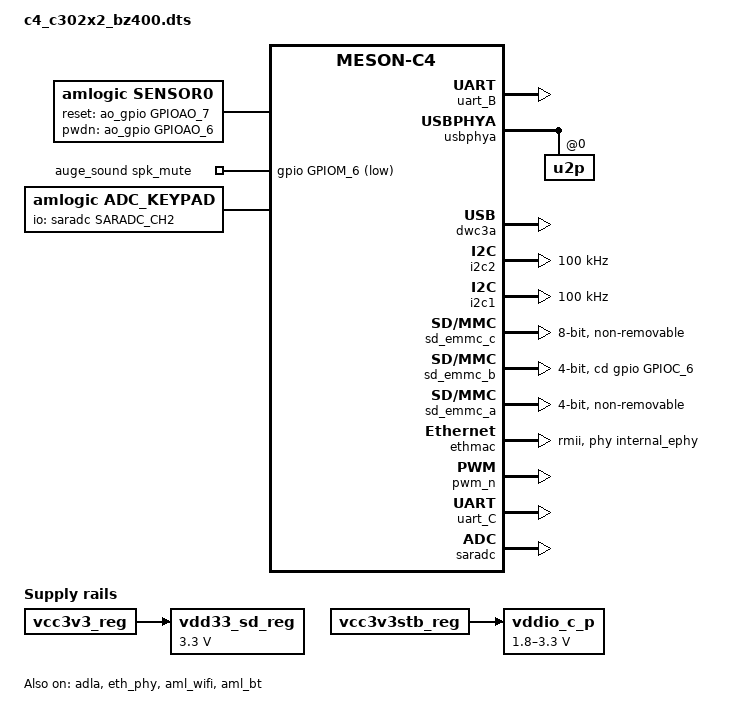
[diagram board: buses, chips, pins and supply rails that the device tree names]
// SPDX-License-Identifier: (GPL-2.0+ OR MIT)
/*
 * Copyright (c) 2019 Amlogic, Inc. All rights reserved.
 */

/dts-v1/;

#include "meson-c4.dtsi"
#include "mesonc4_audio.dtsi"

/ {
	amlogic-dt-id = "c4_c302x2_bz400";
	compatible = "c4_c302x2_bz400";

	aliases {
		serial0 = &uart_B;
		serial1 = &uart_C;
		serial2 = &uart_A;
		serial3 = &uart_E;
		serial4 = &uart_D;
		serial5 = &uart_F;
		i2c0 = &i2c0;
		i2c1 = &i2c1;
		i2c2 = &i2c2;
		i2c3 = &i2c3;
		i2c4 = &i2c4;
		spi0 = &spi_nfc;
		spi1 = &spicc0;
		spi2 = &spicc1;
		tsensor0 = &tsensor;
	};

	chosen {
		stdout-path = "serial0:115200n8";
	};

	memory@0 {
		device_type = "memory";
		linux,usable-memory = <0x0 0x20000000>;
	};

	reserved-memory {
		#address-cells = <1>;
		#size-cells = <1>;
		ranges;

		ramdump_bl33z {
			compatible = "shared-dma-pool";
			size = <0x01800000>;
			alignment = <0x00400000>;
			alloc-ranges = <0x05000000 0x07000000>;
			linux,contiguous-region;
			no-map;
			status = "disabled";
		};

		secmon_reserved:linux,secmon {
			compatible = "shared-dma-pool";
			no-map;
			alignment = <0x100000>;
			reg = <0x07f50000 0x00810000>;
		};
		nna_cma_reserved: linux,nna_cma {
			compatible = "shared-dma-pool";
			//alloc-ranges = <0x70000000 0x18000000>;
			size = <0x1000000>;
			alignment = <0x400000>;
			reusable;
			//no-map;
			status = "okay";
		};

		logo_reserved:linux,meson-fb {
			compatible = "shared-dma-pool";
			reusable;
			/* keep sync with fb */
			/* fox example:logo_addr = "0x3f800000"*/
			size = <0x1800000>;
			alignment = <0x400000>;
			reg = <0xe800000 0x1800000>;
				status = "disabled";
		};

		ion_cma_reserved:linux,ion-dev {
			compatible = "shared-dma-pool";
			reusable;
			size = <0x3000000>;
			alignment = <0x400000>;
				status = "disabled";
		};

		rtos_reserved:linux,rtos_reserved {
			compatible = "amlogic, aml_rtos_memory";
			status = "disabled";
			reg = <0x4800000 0x200000>;
			no-map;
		};

		dsp_fw_reserved:linux,dsp_fw {
			compatible = "shared-dma-pool";
			reusable;
			alignment = <0x400000>;
			reg = <0x3400000 0x0>;
			status = "disabled";
		};

		ramoops@8400000 {
			compatible = "ramoops";
			status = "okay";
			reg = <0x08400000 0x00100000>;
			record-size = <0x20000>;
			console-size = <0x20000>;
			ftrace-size = <0x80000>;
			pmsg-size = <0x0>;
			no-map;
		};

		dmc_reserved:linux,dmc_monitor {
			compatible = "amlogic,dmc_monitor-reserved";
			reg = <0x0 0x0>;
				status = "disabled";
		};

		debug_reserved:linux,iotrace {
			compatible = "amlogic, iotrace";
			reg = <0x04f00000 0x00100000>;
			io-size = <0x1b000>;
			sched-size = <0x2000>;
			irq-size = <0x1000>;
			smc-size = <0x1000>;
			misc-size = <0x1000>;
			status = "disabled";
		};

		pmz_cma_a1_reserved:anonymous {
			compatible = "shared-dma-pool";
			//reusable;
			no-map;
			alignment = <0x100000>;
			reg = <0x012400000 0x08000000>;
			status = "okay";
		};

		pmz_cma_a2_reserved:user_pmz {
			compatible = "shared-dma-pool";
			//reusable;
			no-map;
			size = <0x1000000>;
			alignment = <0x400000>;
			status = "disabled";
		};

		codec_mm_cma:linux,codec_mm_cma {
			compatible = "shared-dma-pool";
			reusable;
			/* ion_codec_mm max can alloc size 80M*/
			size = <0x2400000>;
			alignment = <0x400000>;
			linux,contiguous-region;
			status = "disabled";
		};
		/* codec shared reserved */
		codec_mm_reserved:linux,codec_mm_reserved {
			compatible = "amlogic, codec-mm-reserved";
			size = <0x0>;
			alignment = <0x100000>;
			//no-map;
			status = "disabled";
		};
		jpegenc_cma_reserved:linux,jpegenc_cma {
			compatible = "shared-dma-pool";
			reusable;
			size = <0x0>;
			alignment = <0x400000>;
			status = "disabled";
		};

		/* global autoconfigured region for contiguous allocations */
		linux,cma {
			compatible = "shared-dma-pool";
			reusable;
			size = <0x800000>;
			alignment = <0x400000>;
			linux,cma-default;
			status = "disabled";
		};
	};

	sensor0: sensor0 {
		compatible = "amlogic, sensor0";
		status = "okay";
		clocks = <&clkc CLKID_MCLK_PLL_CLK
				&clkc CLKID_MCLK0>;
		clock-names = "mclk_pll", "mclk";
		clock-frequency = <74250000>;
		devices-type = <1>;
		reset-gpios = <&ao_gpio GPIOAO_7 GPIO_ACTIVE_HIGH>;
		pwdn-gpios = <&ao_gpio GPIOAO_6 GPIO_ACTIVE_HIGH>;
	};

	pmz_a1_dev {
		compatible = "amlogic, pmz_dev";
		memory-region = <&pmz_cma_a1_reserved>;
		pmz-allocator = "priv";
	};

/* Audio Related start */
	auge_sound {
		compatible = "amlogic, auge-sound-card";
		aml-audio-card,name = "AML-AUGESOUND";
		spk_mute-gpios = <&gpio GPIOM_6 GPIO_ACTIVE_LOW>;
		spk_mute_sleep_time = <800>;

		aml-audio-card,dai-link@0 {
			format = "dsp_b";
			mclk-fs = <512>;
			//continuous-clock;
			//bitclock-inversion;
			//frame-inversion;
			/* master mode */
			bitclock-master = <&tdma>;
			frame-master = <&tdma>;
			/* slave mode */
			/*
			 * bitclock-master = <&tdmacodec>;
			 * frame-master = <&tdmacodec>;
			 */
			/* suffix-name, sync with android audio hal used for */
			suffix-name = "alsaPORT-pcm";
			tdmacpu: cpu {
				sound-dai = <&tdma>;
				dai-tdm-slot-tx-mask =
							<1 1>;
				dai-tdm-slot-rx-mask =
							<1 1>;
				dai-tdm-slot-num = <2>;
				dai-tdm-slot-width = <16>;
				system-clock-frequency = <256000>;
			};
			tdmacodec: codec {
				sound-dai = <&dummy_codec>;
			};
		};

		aml-audio-card,dai-link@1 {
			format = "i2s";
			mclk-fs = <256>;
			continuous-clock;
			//bitclock-inversion;
			//frame-inversion;
			/* master mode */
			bitclock-master = <&tdmb>;
			frame-master = <&tdmb>;
			/* slave mode */
			//bitclock-master = <&tdmbcodec>;
			//frame-master = <&tdmbcodec>;
			/* suffix-name, sync with android audio hal used for */
			suffix-name = "alsaPORT-i2s";
			cpu {
				sound-dai = <&tdmb>;
				dai-tdm-slot-tx-mask = <1 1>;
				dai-tdm-slot-rx-mask = <1 1>;
				dai-tdm-slot-num = <2>;
				dai-tdm-slot-width = <32>;
				system-clock-frequency = <12288000>;
			};
			tdmbcodec: codec {
				sound-dai = <&acodec>;
			};
		};

		aml-audio-card,dai-link@2 {
			mclk-fs = <64>;
			/* suffix-name, sync with android audio hal used for */
			suffix-name = "alsaPORT-pdm-builtinmic";
			cpu {
				sound-dai = <&pdma>;
			};
			codec {
				sound-dai = <&dummy_codec>;
			};
		};

		aml-audio-card,dai-link@3 {
			mclk-fs = <256>;
			continuous-clock;
			suffix-name = "alsaPORT-loopback";
			cpu {
				sound-dai = <&loopbacka>;
				system-clock-frequency = <12288000>;
			};
			codec {
				sound-dai = <&dummy_codec>;
			};
		};
		aml-audio-card,dai-link@4 {
			mclk-fs = <256>;
			suffix-name = "alsaPORT-Sed";
			cpu {
				sound-dai = <&sed>;
			};
			codec {
				sound-dai = <&dummy_codec>;
			};
		};
	};
	/* Audio Related end */
	picdec {
		compatible = "amlogic, picdec";
		status = "disabled";
	};

	//TF_PWR_EN :GPIOB_4(Default Pull up)
	//L: VDD3V3_SD = 0V (Default)
	vdd33_sd_reg: fixed@vdd33_sd_reg{
		compatible = "regulator-fixed";
		vin-supply = <&vcc3v3_reg>;
		regulator-name = "VDD33_SD";
		regulator-min-microvolt = <3300000>;
		regulator-max-microvolt = <3300000>;
		pinctrl-names = "default";
		//gpio = <&gpio GPIOB_4 GPIO_ACTIVE_HIGH>;
		startup-delay-us = <7000>;
		enable-active-high;
		regulator-boot-on;
		//regulator-always-on;
	};

	//FB: GPIOB_5(SD_SW Default up) Pull up 1.8V
	vddio_c_p: gpio-regulator@vddio_c_p {
		compatible = "regulator-gpio";
		regulator-name = "VDDIO_C_P";
		vin-supply = <&vcc3v3stb_reg>;
		regulator-min-microvolt = <1800000>;
		regulator-max-microvolt = <3300000>;
		//gpio = <&gpio GPIOB_5 GPIO_ACTIVE_HIGH>;
		gpios-states = <0>;
		startup-delay-us = <7000>;
		regulator-boot-on;
		//regulator-always-on;

		states = <1800000 1
			  3300000 0>;
	};

	unifykey{
		compatible = "amlogic,unifykey";
		status = "okay";
		unifykey-num = <2>;
		unifykey-index-0 = <&keysn_0>;
		unifykey-index-1 = <&keysn_1>;

		keysn_0: key_0{
			key-name = "usid";
			key-device = "normal";
			key-permit = "read","write","del";
		};
		keysn_1:key_1{
			key-name = "hdcp";
			key-device = "secure";
			key-type = "sha1";
			key-permit = "read","write","del";
		};
	};//End unifykey

	adc_keypad {
		compatible = "amlogic, adc_keypad";
		status = "okay";
		key_name = "update", "vol-", "vol+", "ok";
		key_num = <4>;
		io-channels = <&saradc SARADC_CH2>;
		io-channel-names = "key-chan-2";
		key_chan = <SARADC_CH2 SARADC_CH2 SARADC_CH2 SARADC_CH2>;
		key_code = <KEY_SETUP KEY_VOLUMEDOWN KEY_VOLUMEUP KEY_ENTER>;
		key_val = <0 252 468 684>;	// Unit: millivolt
		key_tolerance = <70 70 70 70>;	// Unit: millivolt
	};
};

&uart_B {
	status = "okay";
};

&usbphya {
	status = "okay";
	u2p@0 {
		status = "okay";
	};
};

&dwc3otg {
	status = "disabled";
	dr_mode = "otg"; /*otg, host,peripheral */
	controller-type = <1>; /*3:otg, 1: host,2:peripheral */
};

&dwc3a {
	status = "okay";
};

&i2c2 {
	status = "okay";
	pinctrl-names = "default", "sleep";
	pinctrl-0 = <&i2c2_master_pins1>;
	pinctrl-1 = <&i2c2_master_sleep_pins1>;
	clock-frequency = <100000>; /* default 100k */
};

&i2c1 {
	status= "okay";
	clock-frequency = <100000>;
	pinctrl-names = "default", "sleep";
	pinctrl-0 = <&i2c1_master_pins5>;
	pinctrl-1 = <&i2c1_master_sleep_pins5>;
};

&adla {
	status = "okay";
	memory-region = <&nna_cma_reserved>;
};

&sd_emmc_c {
	status = "okay";
	pinctrl-0 = <&emmc_pins>;
	pinctrl-1 = <&emmc_clk_gate_pins>;
	pinctrl-2 = <&emmc_pins_sleep>;
	pinctrl-names = "default", "clk-gate", "sleep";
	bus-width = <8>;
	cap-mmc-highspeed;
	//mmc-ddr-1_8v;
	mmc-hs200-1_8v;
	mmc-hs400-1_8v;
	max-frequency = <200000000>;
	non-removable;
	disable-wp;
};

&sd_emmc_b {
	status = "okay";
	pinctrl-0 = <&sdcard_pins>;
	pinctrl-1 = <&sdcard_clk_gate_pins>;
	pinctrl-2 = <&sd_1bit_pins>;
	pinctrl-names = "sd_default",
			"clk-gate",
			"sd_1bit_pins";
	bus-width = <4>;
	cap-sd-highspeed;
	//sd-uhs-sdr104;
	disable-wp;
	//mmc-run-pxp;
	max-frequency = <200000000>;
	cd-gpios = <&gpio GPIOC_6 GPIO_ACTIVE_HIGH>;
	//vmmc-supply = <&vdd33_sd_reg>;
	//vqmmc-supply = <&vddio_c_p>;
};

&sd_emmc_a {
	status = "okay";
	pinctrl-0 = <&sdio_m_pins>;
	pinctrl-1 = <&sdio_m_clk_gate_pins>;
	pinctrl-names = "default", "clk-gate";
	bus-width = <4>;
	cap-sd-highspeed;
	sd-uhs-sdr104;
	non-removable;
	max-frequency = <200000000>;
	disable-wp;
};

&eth_phy {
	status = "okay";
};

&ethmac {
	status = "okay";
	phy-handle = <&internal_ephy>;
	phy-mode = "rmii";
	mc_val = <0x4be04>;
	phy-mii-clk-sel = <0x3>;
	eee-enable = <0>;
	amlogic,wol-enable;
};

&pwm_n {
	status = "okay";
	pinctrl-names = "default";
	pinctrl-0 = <&pwm_n_ao_pins1>;
};

&aml_wifi {
	status = "okay";
	interrupt-gpios = <&ao_gpio  GPIOAO_10  GPIO_ACTIVE_HIGH>;
	power_on-gpios = <&ao_gpio   GPIOAO_2  GPIO_ACTIVE_HIGH>;
};

&aml_bt {
	status = "okay";
};

&uart_C {
	status = "okay";
};

&mtd_nand {
	status = "disabled";
	#address-cells = <1>;
	#size-cells = <0>;

	pinctrl-names = "nand_norb_mod","nand_cs_only";
	pinctrl-0 = <&all_nand_pins>;
	pinctrl-1 = <&nand_cs_pins>;
	bl_mode = <1>;
	fip_copies = <4>;
	fip_size = <0x200000>;
	ship_bad_block = <1>;
	disa_irq_flag = <1>;
	nand@bootloader {
		reg = <0>;
		#address-cells = <1>;
		#size-cells = <1>;
		nand-ecc-maximize;
		partition@0 {
			label = "bootloader";
			reg = <0x0 0x00000000>;
		};
	};
	nand@normal {
		reg = <0>;
		#address-cells = <1>;
		#size-cells = <1>;
		nand-ecc-maximize;

		partition@0 {
			label = "tpl";
			reg = <0x0 0x00000000>;
		};
		partition@2 {
			label = "recovery";
			reg = <0x0 0x2000000>;
		};
		partition@3 {
			label = "boot";
			reg = <0x0 0x2000000>;
		};
		partition@4 {
			label = "system";
			reg = <0x0 0x13000000>;
		};
		partition@5 {
			label = "data";
			reg = <0x0 0xffffffff>;
		};
	};
};

&spi_nfc {
	status = "disabled";
	pinctrl-names = "default";
	pinctrl-0 = <&spinf_pins>;
	spi-nand@0 {
		compatible = "spi-nand";
		status = "disabled";
		reg = <0>;
		spi-max-frequency = <83000000>;
		spi-tx-bus-width = <4>;
		spi-rx-bus-width = <4>;
	};
	spi-nor@0 {
		compatible = "spi-nor";
		status = "okay";
		reg = <0>;
		spi-tx-bus-width = <4>;
		spi-rx-bus-width = <4>;
		spi-max-frequency = <83000000>;
		m25p,fast-read;
		/* partition info sram addr */
		param_sram_addr = <0xf3c23800>;
		param_sram_size = <0x400>;
	};
};

&saradc {
	status = "okay";
};

&freertos {
	status = "disabled";
};

&spicc0 {
	status = "disabled";
	pinctrl-names = "default";
	pinctrl-0 = <&spicc0_pins_m>;
};

&spicc1 {
	status = "disabled";
	pinctrl-names = "default";
	pinctrl-0 = <&spicc1_pins_d>;
};
